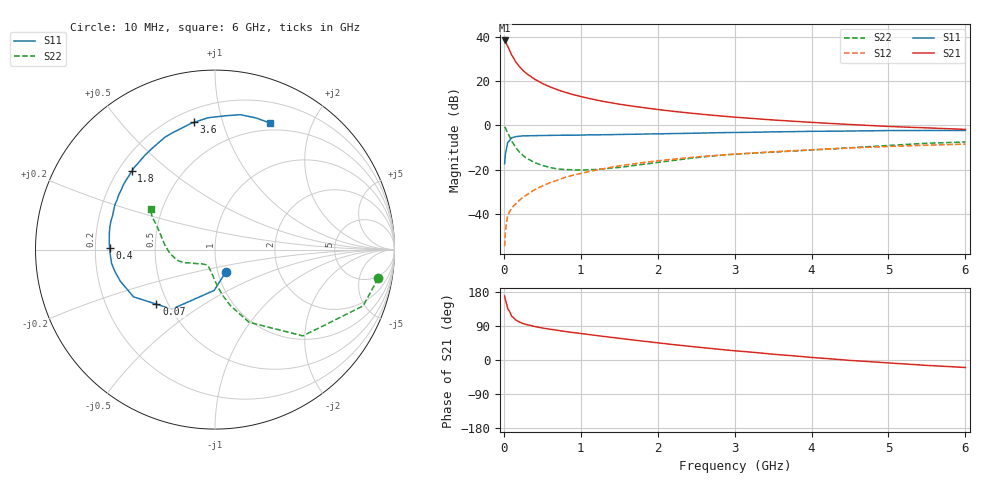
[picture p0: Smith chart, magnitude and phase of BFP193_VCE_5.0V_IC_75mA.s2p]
! (c) 2017  Infineon Technologies AG, Munich
! Infineon Technologies  Discrete & RF Semiconductors
! BFP193
! VCE =  5.0 V,  IC =  75 mA
! Common Emitter S-Parameters:  Jan 2017
# GHz  S  MA  R  50
!  f  S11  S21  S12  S22
! GHz  MAG  ANG  MAG  ANG  MAG  ANG  MAG  ANG
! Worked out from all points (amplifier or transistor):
!   77 points, 10 MHz to 6 GHz, reference 50 ohm
!   highest |S21| = 38.3 dB at 10 MHz (marker M1)
!   |S21| within 3 dB of that: start of sweep to 55.54 MHz
!   unconditionally stable (mu >= 1): 446.4 MHz to 2.389 GHz
!   at 130 MHz: K = 0.71, MSG = 33.2 dB, |S12| = -36.2 dB
!   at 2.2 GHz: K = 1.01, MAG = 10.2 dB, |S12| = -15.3 dB
!   at 6 GHz: K = 0.93, MSG = 3.3 dB, |S12| = -8.4 dB
!   S11 on the Smith chart (normalised r, x): 10 MHz: 1.09, -0.27; 70 MHz: 0.43, -0.33; 400 MHz: 0.26, +0.01; 1.8 GHz: 0.25, +0.37; 3.6 GHz: 0.28, +0.81; 6 GHz: 0.42, +1.44
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0.01  0.137 -63.5  82.02 169.0  0.0019 83.5  0.9227 -10.0
0.02  0.2273 -91.1  79.31 159.0  0.0039 84.3  0.8827 -20.8
0.05  0.4101 -126.0  60.73 135.7  0.0093 62.2  0.6862 -44.5
0.07  0.4461 -137.0  51.42 129.8  0.011 61.6  0.5826 -50.6
0.1  0.5247 -149.9  39.08 115.9  0.0135 60.9  0.4469 -64.9
0.15  0.5557 -161.4  27.75 106.3  0.0168 61.8  0.3224 -74.7
0.2  0.571 -167.7  21.34 100.5  0.0202 66.0  0.2538 -81.1
0.25  0.5812 -172.4  17.29 96.1  0.0244 66.9  0.2101 -85.3
0.3  0.583 -175.7  14.47 93.2  0.0273 68.0  0.1798 -89.2
0.4  0.5878 179.0  10.99 88.3  0.0355 69.6  0.145 -94.8
0.5  0.5917 174.8  8.815 84.5  0.0431 70.8  0.1251 -100.1
0.7  0.5993 167.9  6.339 78.3  0.0585 71.1  0.1043 -108.8
0.9  0.6012 161.5  4.941 72.5  0.0754 69.5  0.1 -116.5
1.1  0.6112 155.7  4.072 67.4  0.0911 67.9  0.1002 -123.7
1.4  0.6192 147.4  3.223 59.7  0.1144 64.6  0.1091 -133.6
1.8  0.6372 136.7  2.535 49.9  0.1446 59.4  0.1323 -144.2
2.1  0.649 129.2  2.179 43.1  0.1658 55.5  0.1542 -150.7
3.1  0.6958 108.1  1.49 22.7  0.2309 42.5  0.2291 -168.1
3.6  0.7182 99.3  1.293 13.7  0.2598 36.7  0.2558 -176.9
4.1  0.7369 91.6  1.145 5.3  0.2877 30.6  0.285 173.2
5.1  0.7648 78.0  0.933 -9.0  0.3391 18.9  0.3616 156.2
6  0.7687 66.7  0.813 -19.8  0.3793 8.8  0.4228 148.1
